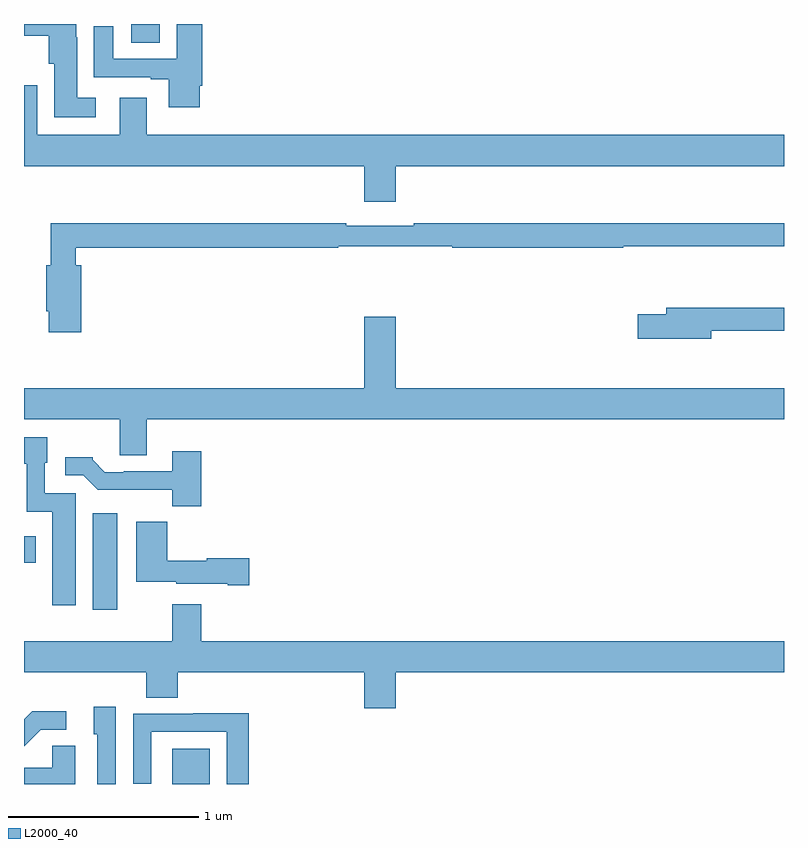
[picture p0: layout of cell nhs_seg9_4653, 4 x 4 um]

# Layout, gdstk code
import gdstk
lib = gdstk.Library(unit=1e-6, precision=1e-09)
def R(c, l, rs):  # rectangles x0, y0, x1, y1
    for r in rs: c.add(gdstk.rectangle(r[:2], r[2:], *l))
def P(c, l, *ps):  # polygons
    for p in ps: c.add(gdstk.Polygon(p, *l))
L2000_40 = (2000, 40)

nhs_seg9_4653 = lib.new_cell('nhs_seg9_4653')
R(nhs_seg9_4653, L2000_40, [(379.781,1194.5,379.978,1194.685), (379.361,1195.416,379.492,1195.924), (379,1195.664,379.063,1195.804), (379.565,1198.402,379.714,1198.5)])
P(nhs_seg9_4653, L2000_40, [(379.378,1198.111),(379.279,1198.111),(379.279,1198.43),(379.275,1198.43),(379.275,1198.5),(379,1198.5),(379,1198.439),(379.13,1198.439),(379.13,1198.29),(379.16,1198.29),(379.16,1198.01),(379.378,1198.01)],
  [(379.924,1198.174),(379.937,1198.174),(379.937,1198.5),(379.805,1198.5),(379.805,1198.317),(379.471,1198.317),(379.471,1198.489),(379.367,1198.489),(379.367,1198.221),(379.667,1198.221),(379.667,1198.209),(379.763,1198.209),(379.763,1198.062),(379.924,1198.062)],
  [(380.792,1197.564),(380.956,1197.564),(380.956,1197.752),(383,1197.752),(383,1197.916),(379.645,1197.916),(379.645,1198.111),(379.505,1198.111),(379.505,1197.916),(379.071,1197.916),(379.071,1198.177),(379,1198.177),(379,1197.752),(380.792,1197.752)],
  [(379.301,1197.229),(379.273,1197.229),(379.273,1197.322),(380.654,1197.322),(380.654,1197.33),(381.254,1197.33),(381.254,1197.322),(382.154,1197.322),(382.154,1197.33),(383,1197.33),(383,1197.451),(381.052,1197.451),(381.052,1197.438),(380.696,1197.438),(380.696,1197.451),(379.141,1197.451),(379.141,1197.229),(379.118,1197.229),(379.118,1196.989),(379.13,1196.989),(379.13,1196.877),(379.301,1196.877)],
  [(382.618,1196.886),(383,1196.886),(383,1197.007),(382.379,1197.007),(382.379,1196.973),(382.23,1196.973),(382.23,1196.843),(382.618,1196.843)],
  [(379.645,1196.42),(383,1196.42),(383,1196.584),(380.956,1196.584),(380.956,1196.959),(380.792,1196.959),(380.792,1196.584),(379,1196.584),(379,1196.42),(379.505,1196.42),(379.505,1196.23),(379.645,1196.23)],
  [(379.273,1196.031),(379.11,1196.031),(379.11,1196.19),(379.123,1196.19),(379.123,1196.326),(379,1196.326),(379,1196.186),(379.014,1196.186),(379.014,1195.934),(379.148,1195.934),(379.148,1195.44),(379.273,1195.44)],
  [(379.934,1196.251),(379.781,1196.251),(379.781,1196.145),(379.525,1196.145),(379.525,1196.142),(379.426,1196.142),(379.362,1196.206),(379.362,1196.221),(379.218,1196.221),(379.218,1196.124),(379.311,1196.124),(379.387,1196.048),(379.779,1196.048),(379.779,1195.961),(379.934,1195.961)],
  [(380.185,1195.688),(379.962,1195.688),(379.962,1195.675),(379.754,1195.675),(379.754,1195.879),(379.592,1195.879),(379.592,1195.565),(379.8,1195.565),(379.8,1195.553),(380.072,1195.553),(380.072,1195.546),(380.185,1195.546)],
  [(380.956,1195.088),(383,1195.088),(383,1195.252),(379.934,1195.252),(379.934,1195.447),(379.781,1195.447),(379.781,1195.252),(379,1195.252),(379,1195.088),(379.643,1195.088),(379.643,1194.955),(379.808,1194.955),(379.808,1195.088),(380.792,1195.088),(380.792,1194.9),(380.956,1194.9)],
  [(379.482,1194.907),(379.367,1194.907),(379.367,1194.762),(379.386,1194.762),(379.386,1194.5),(379.482,1194.5)],
  [(379.087,1194.786),(379.222,1194.786),(379.222,1194.884),(379.043,1194.884),(379,1194.841),(379,1194.699)],
  [(380.183,1194.872),(379.891,1194.872),(379.891,1194.87),(379.575,1194.87),(379.575,1194.501),(379.671,1194.501),(379.671,1194.774),(380.067,1194.774),(380.067,1194.5),(380.183,1194.5)],
  [(379.27,1194.701),(379.149,1194.701),(379.149,1194.586),(379,1194.586),(379,1194.5),(379.27,1194.5)])

lib.write_gds('nhs_seg9_4653.gds')
